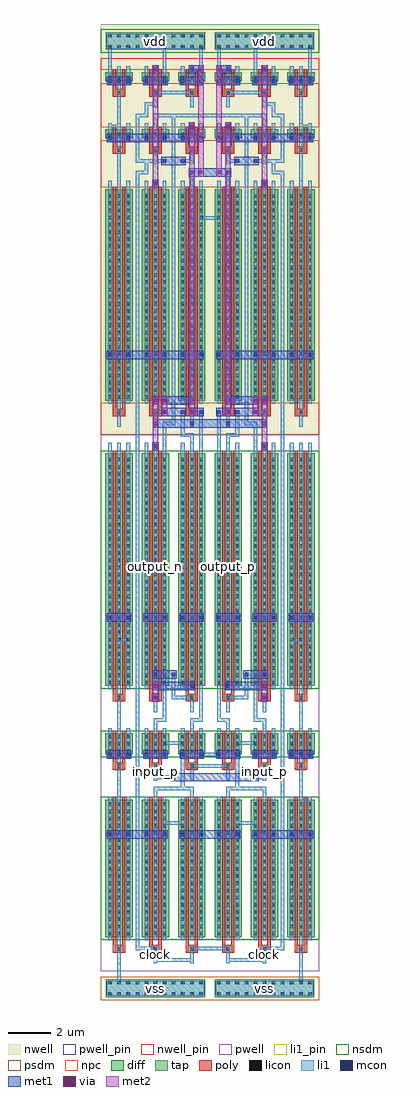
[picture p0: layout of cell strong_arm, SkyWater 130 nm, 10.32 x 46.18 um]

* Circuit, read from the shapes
.subckt strong_arm clock input_n input_p output_n output_p vdd vss
XM1 vss vss vss vss sky130_fd_pr__nfet_01v8 w=6.5 l=0.15 m=4
XM2 vss vss vss vss sky130_fd_pr__nfet_01v8 w=1 l=0.15 m=4
XM3 vss vss vss vss sky130_fd_pr__nfet_01v8 w=11 l=0.15 m=4
XM4 strong_arm_half_0/tail_d clock vss vss sky130_fd_pr__nfet_01v8 w=6.5 l=0.15 m=8
XM5 strong_arm_half_0/input_d_n input_p strong_arm_half_0/tail_d vss sky130_fd_pr__nfet_01v8 w=1 l=0.15 m=4
XM6 output_n output_p strong_arm_half_0/input_d_n vss sky130_fd_pr__nfet_01v8 w=11 l=0.15 m=4
XM7 strong_arm_half_0/input_d_p input_n strong_arm_half_0/tail_d vss sky130_fd_pr__nfet_01v8 w=1 l=0.15 m=2
XM8 output_p output_n strong_arm_half_0/input_d_p vss sky130_fd_pr__nfet_01v8 w=11 l=0.15 m=2
XM9 strong_arm_half_1/input_d_p input_n strong_arm_half_0/tail_d vss sky130_fd_pr__nfet_01v8 w=1 l=0.15 m=2
XM10 output_p output_n strong_arm_half_1/input_d_p vss sky130_fd_pr__nfet_01v8 w=11 l=0.15 m=2
XM11 vdd vdd vdd vdd sky130_fd_pr__pfet_01v8 w=10 l=0.15 m=4
XM12 vdd vdd vdd vdd sky130_fd_pr__pfet_01v8 w=0.42 l=0.15 m=8
XM13 output_n output_p vdd vdd sky130_fd_pr__pfet_01v8 w=10 l=0.15 m=4
XM14 strong_arm_half_0/input_d_n clock vdd vdd sky130_fd_pr__pfet_01v8 w=0.42 l=0.15 m=4
XM15 output_n clock vdd vdd sky130_fd_pr__pfet_01v8 w=0.42 l=0.15 m=4
XM16 output_p output_n vdd vdd sky130_fd_pr__pfet_01v8 w=10 l=0.15 m=4
XM17 strong_arm_half_0/input_d_p clock vdd vdd sky130_fd_pr__pfet_01v8 w=0.42 l=0.15 m=2
XM18 output_p clock vdd vdd sky130_fd_pr__pfet_01v8 w=0.42 l=0.15 m=4
XM19 strong_arm_half_1/input_d_p clock vdd vdd sky130_fd_pr__pfet_01v8 w=0.42 l=0.15 m=2
.ends

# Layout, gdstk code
from math import pi, radians
import gdstk
lib = gdstk.Library(unit=1e-6, precision=1e-09)
def R(c, l, rs):  # rectangles x0, y0, x1, y1
    for r in rs: c.add(gdstk.rectangle(r[:2], r[2:], *l))
def A(c, l, x, y, w, h, nx, ny, dx, dy):  # array of equal rectangles
    R(c, l, [(x+i*dx, y+j*dy, x+i*dx+w, y+j*dy+h) for i in range(nx) for j in range(ny)])
nwell_pin = (64, 16)
nwell = (64, 20)
pwell = (64, 44)
diff = (65, 20)
tap = (65, 44)
poly = (66, 20)
licon = (66, 44)
li1_pin = (67, 16)
li1 = (67, 20)
mcon = (67, 44)
met1 = (68, 20)
via = (68, 44)
met2 = (69, 20)
nsdm = (93, 44)
psdm = (94, 20)
npc = (95, 20)
pwell_pin = (122, 16)

ptap_tile_x11_y2 = lib.new_cell('ptap_tile_x11_y2')
R(ptap_tile_x11_y2, tap, [(-0.205,-0.15,4.505,0.69)])
A(ptap_tile_x11_y2, licon, -0.085, -0.085, 0.17, 0.17, 11, 2, 0.43, 0.54)
R(ptap_tile_x11_y2, li1_pin, [(-0.165,-0.085,4.465,0.625)])
R(ptap_tile_x11_y2, li1, [(-0.165,-0.085,4.465,0.625)])
R(ptap_tile_x11_y2, psdm, [(-0.43,-0.28,4.73,0.82)])
ptap_tile_x11_y2.add(gdstk.Label('vnb', (2.15,0.27), layer=67, texttype=5))

ptap_tile = lib.new_cell('ptap_tile')
R(ptap_tile, li1_pin, [(-0.165,-0.085,4.465,0.625)])
ptap_tile.add(gdstk.Reference(ptap_tile_x11_y2, (0,0)))
ptap_tile.add(gdstk.Label('x', (2.15,0.27), layer=67, texttype=5))

ntap_tile_x11_y2 = lib.new_cell('ntap_tile_x11_y2')
R(ntap_tile_x11_y2, nwell, [(-0.43,-0.54,4.73,1.08)])
R(ntap_tile_x11_y2, tap, [(-0.205,-0.15,4.505,0.69)])
A(ntap_tile_x11_y2, licon, -0.085, -0.085, 0.17, 0.17, 11, 2, 0.43, 0.54)
R(ntap_tile_x11_y2, li1_pin, [(-0.165,-0.085,4.465,0.625)])
R(ntap_tile_x11_y2, li1, [(-0.165,-0.085,4.465,0.625)])
R(ntap_tile_x11_y2, nsdm, [(-0.43,-0.28,4.73,0.82)])
ntap_tile_x11_y2.add(gdstk.Label('vpb', (2.15,0.27), layer=67, texttype=5))

ntap_tile = lib.new_cell('ntap_tile')
R(ntap_tile, li1_pin, [(-0.165,-0.085,4.465,0.625)])
ntap_tile.add(gdstk.Reference(ntap_tile_x11_y2, (0,0)))
ntap_tile.add(gdstk.Label('x', (2.15,0.27), layer=67, texttype=5))

nmos_tile_w6500_l150_nf2 = lib.new_cell('nmos_tile_w6500_l150_nf2')
R(nmos_tile_w6500_l150_nf2, pwell, [(0,-1.62,1.72,7.02)])
R(nmos_tile_w6500_l150_nf2, diff, [(0.215,0,1.505,6.5)])
R(nmos_tile_w6500_l150_nf2, poly, [(0.57,-0.735,0.945,-0.385), (0.57,-0.735,0.72,6.63), (0.775,-0.735,1.15,-0.385), (1,-0.735,1.15,6.63)])
A(nmos_tile_w6500_l150_nf2, licon, 0.345, 0.08, 0.17, 0.17, 3, 19, 0.43, 0.34)
R(nmos_tile_w6500_l150_nf2, licon, [(0.775,-0.645,0.945,-0.475)])
A(nmos_tile_w6500_l150_nf2, li1_pin, 0.345, -0.155, 0.17, 6.79, 3, 1, 0.43, 0)
R(nmos_tile_w6500_l150_nf2, li1_pin, [(0.775,-1.235,0.945,-0.385)])
A(nmos_tile_w6500_l150_nf2, li1, 0.345, -0.155, 0.17, 6.79, 3, 1, 0.43, 0)
R(nmos_tile_w6500_l150_nf2, li1, [(0.775,-1.235,0.945,-0.385)])
R(nmos_tile_w6500_l150_nf2, nsdm, [(0,-0.13,1.72,6.63)])
R(nmos_tile_w6500_l150_nf2, npc, [(0.675,-0.745,1.045,-0.375)])
R(nmos_tile_w6500_l150_nf2, pwell_pin, [(0,-1.62,1.72,7.02)])
nmos_tile_w6500_l150_nf2.add(gdstk.Label('sd_0', (0.43,3.24), layer=67, texttype=5))
nmos_tile_w6500_l150_nf2.add(gdstk.Label('sd_1', (0.86,3.24), layer=67, texttype=5))
nmos_tile_w6500_l150_nf2.add(gdstk.Label('sd_2', (1.29,3.24), layer=67, texttype=5))
nmos_tile_w6500_l150_nf2.add(gdstk.Label('g_0', (0.86,-0.81), layer=67, texttype=5))
nmos_tile_w6500_l150_nf2.add(gdstk.Label('b', (0.86,2.7), layer=64, texttype=59))

two_finger_mos_tile = lib.new_cell('two_finger_mos_tile')
A(two_finger_mos_tile, li1_pin, 0.345, -0.155, 0.17, 6.79, 3, 1, 0.43, 0)
R(two_finger_mos_tile, li1_pin, [(0.775,-1.235,0.945,-0.385)])
R(two_finger_mos_tile, li1, [(0.345,4.775,0.515,4.945), (0.345,4.775,0.515,4.945), (1.205,4.775,1.375,4.945), (1.205,4.775,1.375,4.945)])
R(two_finger_mos_tile, mcon, [(0.345,4.775,0.515,4.945), (1.205,4.775,1.375,4.945)])
R(two_finger_mos_tile, met1, [(0.285,4.66,0.575,5.06), (0.345,4.66,0.945,5.06), (0.775,4.66,1.375,5.06), (1.145,4.66,1.435,5.06)])
R(two_finger_mos_tile, pwell_pin, [(0,-1.62,1.72,7.02)])
two_finger_mos_tile.add(gdstk.Reference(nmos_tile_w6500_l150_nf2, (0,0)))
two_finger_mos_tile.add(gdstk.Label('d', (0.86,3.24), layer=67, texttype=5))
two_finger_mos_tile.add(gdstk.Label('g', (0.86,-0.81), layer=67, texttype=5))
two_finger_mos_tile.add(gdstk.Label('s', (1.29,3.24), layer=67, texttype=5))
two_finger_mos_tile.add(gdstk.Label('s', (0.43,3.24), layer=67, texttype=5))
two_finger_mos_tile.add(gdstk.Label('b', (0.86,2.7), layer=64, texttype=59))

nmos_tile_w1000_l150_nf2 = lib.new_cell('nmos_tile_w1000_l150_nf2')
R(nmos_tile_w1000_l150_nf2, pwell, [(0,-1.62,1.72,1.62)])
R(nmos_tile_w1000_l150_nf2, diff, [(0.215,0,1.505,1)])
R(nmos_tile_w1000_l150_nf2, poly, [(0.57,-0.735,0.945,-0.385), (0.57,-0.735,0.72,1.13), (0.775,-0.735,1.15,-0.385), (1,-0.735,1.15,1.13)])
A(nmos_tile_w1000_l150_nf2, licon, 0.345, 0.08, 0.17, 0.17, 3, 3, 0.43, 0.34)
R(nmos_tile_w1000_l150_nf2, licon, [(0.775,-0.645,0.945,-0.475)])
A(nmos_tile_w1000_l150_nf2, li1_pin, 0.345, -0.155, 0.17, 1.39, 3, 1, 0.43, 0)
R(nmos_tile_w1000_l150_nf2, li1_pin, [(0.775,-1.235,0.945,-0.385)])
A(nmos_tile_w1000_l150_nf2, li1, 0.345, -0.155, 0.17, 1.39, 3, 1, 0.43, 0)
R(nmos_tile_w1000_l150_nf2, li1, [(0.775,-1.235,0.945,-0.385)])
R(nmos_tile_w1000_l150_nf2, nsdm, [(0,-0.13,1.72,1.13)])
R(nmos_tile_w1000_l150_nf2, npc, [(0.675,-0.745,1.045,-0.375)])
R(nmos_tile_w1000_l150_nf2, pwell_pin, [(0,-1.62,1.72,1.62)])
nmos_tile_w1000_l150_nf2.add(gdstk.Label('sd_0', (0.43,0.54), layer=67, texttype=5))
nmos_tile_w1000_l150_nf2.add(gdstk.Label('sd_1', (0.86,0.54), layer=67, texttype=5))
nmos_tile_w1000_l150_nf2.add(gdstk.Label('sd_2', (1.29,0.54), layer=67, texttype=5))
nmos_tile_w1000_l150_nf2.add(gdstk.Label('g_0', (0.86,-0.81), layer=67, texttype=5))
nmos_tile_w1000_l150_nf2.add(gdstk.Label('b', (0.86,0), layer=64, texttype=59))

two_finger_mos_tile_1 = lib.new_cell('two_finger_mos_tile_1')
A(two_finger_mos_tile_1, li1_pin, 0.345, -0.155, 0.17, 1.39, 3, 1, 0.43, 0)
R(two_finger_mos_tile_1, li1_pin, [(0.775,-1.235,0.945,-0.385)])
R(two_finger_mos_tile_1, li1, [(0.345,-0.085,0.515,0.085), (0.345,-0.085,0.515,0.085), (1.205,-0.085,1.375,0.085), (1.205,-0.085,1.375,0.085)])
R(two_finger_mos_tile_1, mcon, [(0.345,-0.085,0.515,0.085), (1.205,-0.085,1.375,0.085)])
R(two_finger_mos_tile_1, met1, [(0.285,-0.2,0.575,0.2), (0.345,-0.2,0.945,0.2), (0.775,-0.2,1.375,0.2), (1.145,-0.2,1.435,0.2)])
R(two_finger_mos_tile_1, pwell_pin, [(0,-1.62,1.72,1.62)])
two_finger_mos_tile_1.add(gdstk.Reference(nmos_tile_w1000_l150_nf2, (0,0)))
two_finger_mos_tile_1.add(gdstk.Label('d', (0.86,0.54), layer=67, texttype=5))
two_finger_mos_tile_1.add(gdstk.Label('g', (0.86,-0.81), layer=67, texttype=5))
two_finger_mos_tile_1.add(gdstk.Label('s', (1.29,0.54), layer=67, texttype=5))
two_finger_mos_tile_1.add(gdstk.Label('s', (0.43,0.54), layer=67, texttype=5))
two_finger_mos_tile_1.add(gdstk.Label('b', (0.86,0), layer=64, texttype=59))

nmos_tile_w11000_l150_nf = lib.new_cell('nmos_tile_w11000_l150_nf2')
R(nmos_tile_w11000_l150_nf, pwell, [(0,-1.62,1.72,11.88)])
R(nmos_tile_w11000_l150_nf, diff, [(0.215,0,1.505,11)])
R(nmos_tile_w11000_l150_nf, poly, [(0.57,-0.735,0.945,-0.385), (0.57,-0.735,0.72,11.13), (0.775,-0.735,1.15,-0.385), (1,-0.735,1.15,11.13)])
A(nmos_tile_w11000_l150_nf, licon, 0.345, 0.08, 0.17, 0.17, 3, 32, 0.43, 0.34)
R(nmos_tile_w11000_l150_nf, licon, [(0.775,-0.645,0.945,-0.475)])
A(nmos_tile_w11000_l150_nf, li1_pin, 0.345, -0.155, 0.17, 11.65, 3, 1, 0.43, 0)
R(nmos_tile_w11000_l150_nf, li1_pin, [(0.775,-1.235,0.945,-0.385)])
A(nmos_tile_w11000_l150_nf, li1, 0.345, -0.155, 0.17, 11.65, 3, 1, 0.43, 0)
R(nmos_tile_w11000_l150_nf, li1, [(0.775,-1.235,0.945,-0.385)])
R(nmos_tile_w11000_l150_nf, nsdm, [(0,-0.13,1.72,11.13)])
R(nmos_tile_w11000_l150_nf, npc, [(0.675,-0.745,1.045,-0.375)])
R(nmos_tile_w11000_l150_nf, pwell_pin, [(0,-1.62,1.72,11.88)])
nmos_tile_w11000_l150_nf.add(gdstk.Label('sd_0', (0.43,5.67), layer=67, texttype=5))
nmos_tile_w11000_l150_nf.add(gdstk.Label('sd_1', (0.86,5.67), layer=67, texttype=5))
nmos_tile_w11000_l150_nf.add(gdstk.Label('sd_2', (1.29,5.67), layer=67, texttype=5))
nmos_tile_w11000_l150_nf.add(gdstk.Label('g_0', (0.86,-0.81), layer=67, texttype=5))
nmos_tile_w11000_l150_nf.add(gdstk.Label('b', (0.86,5.13), layer=64, texttype=59))

two_finger_mos_tile_2 = lib.new_cell('two_finger_mos_tile_2')
A(two_finger_mos_tile_2, li1_pin, 0.345, -0.155, 0.17, 11.65, 3, 1, 0.43, 0)
R(two_finger_mos_tile_2, li1_pin, [(0.775,-1.235,0.945,-0.385)])
R(two_finger_mos_tile_2, li1, [(0.345,3.155,0.515,3.325), (0.345,3.155,0.515,3.325), (1.205,3.155,1.375,3.325), (1.205,3.155,1.375,3.325)])
R(two_finger_mos_tile_2, mcon, [(0.345,3.155,0.515,3.325), (1.205,3.155,1.375,3.325)])
R(two_finger_mos_tile_2, met1, [(0.285,3.04,0.575,3.44), (0.345,3.04,0.945,3.44), (0.775,3.04,1.375,3.44), (1.145,3.04,1.435,3.44)])
R(two_finger_mos_tile_2, pwell_pin, [(0,-1.62,1.72,11.88)])
two_finger_mos_tile_2.add(gdstk.Reference(nmos_tile_w11000_l150_nf, (0,0)))
two_finger_mos_tile_2.add(gdstk.Label('d', (0.86,5.67), layer=67, texttype=5))
two_finger_mos_tile_2.add(gdstk.Label('g', (0.86,-0.81), layer=67, texttype=5))
two_finger_mos_tile_2.add(gdstk.Label('s', (1.29,5.67), layer=67, texttype=5))
two_finger_mos_tile_2.add(gdstk.Label('s', (0.43,5.67), layer=67, texttype=5))
two_finger_mos_tile_2.add(gdstk.Label('b', (0.86,5.13), layer=64, texttype=59))

pmos_tile_w10000_l150_nf = lib.new_cell('pmos_tile_w10000_l150_nf2')
R(pmos_tile_w10000_l150_nf, nwell_pin, [(0,-1.62,1.72,10.8)])
R(pmos_tile_w10000_l150_nf, nwell, [(0,-1.62,1.72,10.8)])
R(pmos_tile_w10000_l150_nf, diff, [(0.215,0,1.505,10)])
R(pmos_tile_w10000_l150_nf, poly, [(0.57,-0.735,0.945,-0.385), (0.57,-0.735,0.72,10.13), (0.775,-0.735,1.15,-0.385), (1,-0.735,1.15,10.13)])
A(pmos_tile_w10000_l150_nf, licon, 0.345, 0.08, 0.17, 0.17, 3, 29, 0.43, 0.34)
R(pmos_tile_w10000_l150_nf, licon, [(0.775,-0.645,0.945,-0.475)])
A(pmos_tile_w10000_l150_nf, li1_pin, 0.345, -0.155, 0.17, 10.57, 3, 1, 0.43, 0)
R(pmos_tile_w10000_l150_nf, li1_pin, [(0.775,-1.235,0.945,-0.385)])
A(pmos_tile_w10000_l150_nf, li1, 0.345, -0.155, 0.17, 10.57, 3, 1, 0.43, 0)
R(pmos_tile_w10000_l150_nf, li1, [(0.775,-1.235,0.945,-0.385)])
R(pmos_tile_w10000_l150_nf, psdm, [(0,-0.13,1.72,10.13)])
R(pmos_tile_w10000_l150_nf, npc, [(0.675,-0.745,1.045,-0.375)])
pmos_tile_w10000_l150_nf.add(gdstk.Label('sd_0', (0.43,5.13), layer=67, texttype=5))
pmos_tile_w10000_l150_nf.add(gdstk.Label('sd_1', (0.86,5.13), layer=67, texttype=5))
pmos_tile_w10000_l150_nf.add(gdstk.Label('sd_2', (1.29,5.13), layer=67, texttype=5))
pmos_tile_w10000_l150_nf.add(gdstk.Label('g_0', (0.86,-0.81), layer=67, texttype=5))
pmos_tile_w10000_l150_nf.add(gdstk.Label('b', (0.86,4.59), layer=64, texttype=5))

two_finger_mos_tile_3 = lib.new_cell('two_finger_mos_tile_3')
R(two_finger_mos_tile_3, nwell_pin, [(0,-1.62,1.72,10.8)])
A(two_finger_mos_tile_3, li1_pin, 0.345, -0.155, 0.17, 10.57, 3, 1, 0.43, 0)
R(two_finger_mos_tile_3, li1_pin, [(0.775,-1.235,0.945,-0.385)])
R(two_finger_mos_tile_3, li1, [(0.345,2.075,0.515,2.245), (0.345,2.075,0.515,2.245), (1.205,2.075,1.375,2.245), (1.205,2.075,1.375,2.245)])
R(two_finger_mos_tile_3, mcon, [(0.345,2.075,0.515,2.245), (1.205,2.075,1.375,2.245)])
R(two_finger_mos_tile_3, met1, [(0.285,1.96,0.575,2.36), (0.345,1.96,0.945,2.36), (0.775,1.96,1.375,2.36), (1.145,1.96,1.435,2.36)])
two_finger_mos_tile_3.add(gdstk.Reference(pmos_tile_w10000_l150_nf, (0,0)))
two_finger_mos_tile_3.add(gdstk.Label('d', (0.86,5.13), layer=67, texttype=5))
two_finger_mos_tile_3.add(gdstk.Label('g', (0.86,-0.81), layer=67, texttype=5))
two_finger_mos_tile_3.add(gdstk.Label('s', (1.29,5.13), layer=67, texttype=5))
two_finger_mos_tile_3.add(gdstk.Label('s', (0.43,5.13), layer=67, texttype=5))
two_finger_mos_tile_3.add(gdstk.Label('b', (0.86,4.59), layer=64, texttype=5))

pmos_tile_w420_l150_nf2 = lib.new_cell('pmos_tile_w420_l150_nf2')
R(pmos_tile_w420_l150_nf2, nwell_pin, [(0,-1.62,1.72,1.08)])
R(pmos_tile_w420_l150_nf2, nwell, [(0,-1.62,1.72,1.08)])
R(pmos_tile_w420_l150_nf2, diff, [(0.215,0,1.505,0.42)])
R(pmos_tile_w420_l150_nf2, poly, [(0.57,-0.735,0.945,-0.385), (0.57,-0.735,0.72,0.55), (0.775,-0.735,1.15,-0.385), (1,-0.735,1.15,0.55)])
A(pmos_tile_w420_l150_nf2, licon, 0.345, 0.08, 0.17, 0.17, 3, 1, 0.43, 0)
R(pmos_tile_w420_l150_nf2, licon, [(0.775,-0.645,0.945,-0.475)])
A(pmos_tile_w420_l150_nf2, li1_pin, 0.345, -0.155, 0.17, 0.85, 3, 1, 0.43, 0)
R(pmos_tile_w420_l150_nf2, li1_pin, [(0.775,-1.235,0.945,-0.385)])
A(pmos_tile_w420_l150_nf2, li1, 0.345, -0.155, 0.17, 0.85, 3, 1, 0.43, 0)
R(pmos_tile_w420_l150_nf2, li1, [(0.775,-1.235,0.945,-0.385)])
R(pmos_tile_w420_l150_nf2, psdm, [(0,-0.13,1.72,0.55)])
R(pmos_tile_w420_l150_nf2, npc, [(0.675,-0.745,1.045,-0.375)])
pmos_tile_w420_l150_nf2.add(gdstk.Label('sd_0', (0.43,0.27), layer=67, texttype=5))
pmos_tile_w420_l150_nf2.add(gdstk.Label('sd_1', (0.86,0.27), layer=67, texttype=5))
pmos_tile_w420_l150_nf2.add(gdstk.Label('sd_2', (1.29,0.27), layer=67, texttype=5))
pmos_tile_w420_l150_nf2.add(gdstk.Label('g_0', (0.86,-0.81), layer=67, texttype=5))
pmos_tile_w420_l150_nf2.add(gdstk.Label('b', (0.86,-0.27), layer=64, texttype=5))

two_finger_mos_tile_4 = lib.new_cell('two_finger_mos_tile_4')
R(two_finger_mos_tile_4, nwell_pin, [(0,-1.62,1.72,1.08)])
A(two_finger_mos_tile_4, li1_pin, 0.345, -0.155, 0.17, 0.85, 3, 1, 0.43, 0)
R(two_finger_mos_tile_4, li1_pin, [(0.775,-1.235,0.945,-0.385)])
R(two_finger_mos_tile_4, li1, [(0.345,-0.085,0.515,0.085), (0.345,-0.085,0.515,0.085), (1.205,-0.085,1.375,0.085), (1.205,-0.085,1.375,0.085)])
R(two_finger_mos_tile_4, mcon, [(0.345,-0.085,0.515,0.085), (1.205,-0.085,1.375,0.085)])
R(two_finger_mos_tile_4, met1, [(0.285,-0.2,0.575,0.2), (0.345,-0.2,0.945,0.2), (0.775,-0.2,1.375,0.2), (1.145,-0.2,1.435,0.2)])
two_finger_mos_tile_4.add(gdstk.Reference(pmos_tile_w420_l150_nf2, (0,0)))
two_finger_mos_tile_4.add(gdstk.Label('d', (0.86,0.27), layer=67, texttype=5))
two_finger_mos_tile_4.add(gdstk.Label('g', (0.86,-0.81), layer=67, texttype=5))
two_finger_mos_tile_4.add(gdstk.Label('s', (1.29,0.27), layer=67, texttype=5))
two_finger_mos_tile_4.add(gdstk.Label('s', (0.43,0.27), layer=67, texttype=5))
two_finger_mos_tile_4.add(gdstk.Label('b', (0.86,-0.27), layer=64, texttype=5))

strong_arm_half = lib.new_cell('strong_arm_half')
R(strong_arm_half, li1_pin, [(-0.165,-44.905,4.465,-44.195), (2.065,-43.355,2.235,-42.505), (2.065,-42.275,2.235,-35.485), (2.065,-34.715,2.235,-33.865), (3.785,-34.715,3.955,-33.865), (2.065,-33.635,2.235,-32.245), (3.785,-33.635,3.955,-32.245), (2.065,-30.395,2.235,-18.745), (3.785,-30.395,3.955,-18.745), (-0.165,-0.085,4.465,0.625)])
A(strong_arm_half, li1, 2.065, -43.285, 0.6, 0.17, 4, 2, 0.43, 8.1)
A(strong_arm_half, li1, 1.205, -42.745, 0.17, 0.71, 1, 13, 0, 0.54)
A(strong_arm_half, li1, 0.345, -35.725, 0.17, 0.71, 3, 2, 0.86, 3.24)
A(strong_arm_half, li1, 1.205, -35.185, 0.17, 0.71, 1, 5, 0, 0.54)
A(strong_arm_half, li1, 3.355, -35.185, 0.17, 0.71, 1, 3, 0, 0.54)
A(strong_arm_half, li1, 1.205, -31.945, 0.17, 0.71, 1, 24, 0, 0.54)
A(strong_arm_half, li1, 2.495, -31.945, 0.17, 0.71, 1, 3, 0, 0.54)
A(strong_arm_half, li1, 4.215, -31.945, 0.17, 0.71, 1, 3, 0, 0.54)
A(strong_arm_half, li1, 1.205, -18.985, 0.17, 0.71, 3, 1, 1.29, 0)
A(strong_arm_half, li1, 1.205, -18.445, 0.17, 0.71, 1, 23, 0, 0.54)
A(strong_arm_half, li1, 2.495, -18.445, 0.17, 0.71, 3, 1, 0.86, 0)
A(strong_arm_half, li1, 2.925, -17.905, 0.17, 0.71, 1, 22, 0, 0.54)
A(strong_arm_half, li1, 0.345, -6.565, 0.17, 0.71, 1, 3, 0, 1.62)
A(strong_arm_half, li1, 0.345, -6.025, 0.17, 0.71, 3, 1, 1.29, 0)
A(strong_arm_half, li1, 1.205, -5.485, 0.17, 0.71, 1, 3, 0, 0.54)
A(strong_arm_half, li1, 1.205, -5.485, 0.6, 0.17, 3, 1, 0.43, 0)
A(strong_arm_half, li1, 2.925, -5.485, 0.17, 0.71, 1, 3, 0, 0.54)
A(strong_arm_half, li1, 0.345, -3.865, 0.17, 0.71, 4, 1, 0.86, 0)
A(strong_arm_half, li1, 2.065, -2.245, 0.6, 0.17, 4, 1, 0.43, 0)
R(strong_arm_half, li1, [(0.345,-44.365,0.515,-43.655), (0.345,-43.825,0.515,-43.115), (0.345,-42.745,0.515,-42.035), (1.205,-42.745,1.805,-42.575), (1.635,-42.745,2.235,-42.575), (2.495,-36.805,3.095,-36.635), (2.925,-36.805,3.525,-36.635), (-0.085,-35.725,0.515,-35.555), (3.785,-35.725,3.955,-35.015), (0.345,-35.185,0.515,-34.475), (0.345,-34.105,0.515,-33.395), (0.345,-33.565,0.515,-33.395), (0.345,-33.565,0.515,-33.395), (2.495,-33.025,3.095,-32.855), (2.925,-33.025,3.525,-32.855), (3.785,-32.485,3.955,-31.775), (0.345,-31.945,0.515,-31.235), (2.065,-31.945,2.665,-31.775), (3.785,-31.945,4.385,-31.775), (0.345,-30.865,0.515,-30.155), (2.065,-30.865,2.235,-30.695), (2.065,-30.865,2.235,-30.695), (2.925,-30.865,3.095,-30.155), (2.925,-30.865,3.525,-30.695), (3.355,-30.865,3.955,-30.695), (2.925,-30.325,3.095,-29.615), (3.785,-30.325,3.955,-30.155), (3.785,-30.325,3.955,-30.155), (2.065,-29.785,2.235,-29.615), (2.065,-29.785,2.235,-29.615), (2.925,-29.785,3.095,-29.615), (2.925,-29.785,3.095,-29.615), (0.345,-28.165,0.945,-27.995), (2.065,-18.985,2.235,-18.815), (2.065,-18.985,2.235,-18.815), (4.215,-18.985,4.385,-18.275), (3.355,-18.445,3.955,-18.275), (2.495,-17.905,3.095,-17.735), (3.355,-17.905,3.525,-17.195), (3.785,-17.905,3.955,-17.735), (3.785,-17.905,3.955,-17.735), (4.215,-17.905,4.385,-17.195), (0.345,-17.365,0.515,-16.655), (2.065,-17.365,2.665,-17.195), (2.495,-17.365,2.665,-17.195), (2.495,-17.365,2.665,-17.195), (3.355,-17.365,3.525,-17.195), (3.355,-17.365,3.525,-17.195), (4.215,-17.365,4.385,-17.195), (4.215,-17.365,4.385,-17.195), (0.345,-16.825,0.945,-16.655), (2.065,-16.825,2.235,-16.655), (2.065,-16.825,2.235,-16.655), (3.785,-16.825,3.955,-16.655), (3.785,-16.825,3.955,-16.655), (2.065,-6.565,2.235,-6.395), (2.065,-6.565,2.235,-6.395), (3.785,-6.565,3.955,-5.855), (1.205,-6.025,1.805,-5.855), (3.785,-6.025,3.955,-5.855), (3.785,-6.025,3.955,-5.855), (2.495,-5.485,2.665,-5.315), (2.495,-5.485,2.665,-5.315), (3.355,-5.485,3.955,-5.315), (3.355,-5.485,3.525,-5.315), (3.355,-5.485,3.525,-5.315), (-0.085,-3.865,0.515,-3.695), (3.785,-3.865,3.955,-3.695), (3.785,-3.865,3.955,-3.695), (1.205,-3.325,1.805,-3.155), (1.635,-3.325,1.805,-2.615), (2.065,-3.325,2.665,-3.155), (2.495,-3.325,3.095,-3.155), (1.635,-2.785,2.235,-2.615), (0.345,-2.245,0.515,-1.535), (0.345,-1.705,0.515,-1.535), (0.345,-1.705,0.515,-1.535), (-0.085,-1.165,0.085,-0.455), (2.065,-1.165,2.235,-0.995), (2.065,-1.165,2.235,-0.995), (2.495,-1.165,2.665,-0.455), (3.785,-1.165,3.955,-0.995), (3.785,-1.165,3.955,-0.995), (4.215,-1.165,4.385,-0.455), (-0.085,-0.625,0.085,0.085), (2.495,-0.625,2.665,0.085), (4.215,-0.625,4.385,0.085)])
A(strong_arm_half, mcon, 2.495, -17.365, 0.17, 0.17, 3, 1, 0.86, 0)
R(strong_arm_half, mcon, [(0.345,-33.565,0.515,-33.395), (2.065,-30.865,2.235,-30.695), (3.785,-30.325,3.955,-30.155), (2.065,-29.785,2.235,-29.615), (2.925,-29.785,3.095,-29.615), (2.065,-18.985,2.235,-18.815), (3.785,-17.905,3.955,-17.735), (2.065,-16.825,2.235,-16.655), (3.785,-16.825,3.955,-16.655), (2.065,-6.565,2.235,-6.395), (3.785,-6.025,3.955,-5.855), (2.495,-5.485,2.665,-5.315), (3.355,-5.485,3.525,-5.315), (3.785,-3.865,3.955,-3.695), (0.345,-1.705,0.515,-1.535), (2.065,-1.165,2.235,-0.995), (3.785,-1.165,3.955,-0.995)])
A(strong_arm_half, met1, 2.065, -30.44, 0.6, 0.4, 4, 2, 0.43, 12.42)
A(strong_arm_half, met1, 2.02, -19.1, 0.26, 0.4, 1, 3, 0, 1.08)
A(strong_arm_half, met1, 2.065, -19.1, 0.17, 0.4, 1, 3, 0, 1.08)
A(strong_arm_half, met1, 2.435, -17.48, 0.29, 0.4, 3, 1, 0.86, 0)
A(strong_arm_half, met1, 2.495, -16.94, 0.6, 0.4, 3, 1, 0.43, 0)
R(strong_arm_half, met1, [(0.775,-37.46,1.375,-37.06), (1.205,-37.46,1.805,-37.06), (0.285,-33.68,0.575,-33.28), (2.005,-30.98,2.295,-30.58), (2.02,-30.98,2.28,-30.58), (2.065,-30.98,2.235,-30.58), (2.02,-30.44,2.28,-30.04), (2.065,-30.44,2.235,-30.04), (3.725,-30.44,4.015,-30.04), (2.005,-29.9,2.295,-29.5), (2.065,-29.9,2.665,-29.5), (2.495,-29.9,3.095,-29.5), (2.865,-29.9,3.155,-29.5), (2.005,-19.1,2.295,-18.7), (3.725,-18.02,4.015,-17.62), (2.45,-17.48,2.71,-17.08), (2.495,-17.48,3.095,-17.08), (2.495,-17.48,2.665,-17.08), (2.925,-17.48,3.525,-17.08), (3.74,-17.48,4,-17.08), (3.785,-17.48,4.385,-17.08), (3.785,-17.48,3.955,-17.08), (2.005,-16.94,2.295,-16.54), (2.45,-16.94,2.71,-16.54), (2.495,-16.94,2.665,-16.54), (3.725,-16.94,4.015,-16.54), (0.775,-14.78,1.375,-14.38), (1.205,-14.78,1.805,-14.38), (2.495,-14.78,3.095,-14.38), (2.925,-14.78,3.525,-14.38), (2.005,-6.68,2.295,-6.28), (2.02,-6.68,2.28,-6.28), (2.065,-6.68,2.235,-6.28), (3.725,-6.14,4.015,-5.74), (3.785,-6.14,4.385,-5.74), (4.17,-6.14,4.43,-5.74), (4.215,-6.14,4.385,-5.74), (2.435,-5.6,2.725,-5.2), (2.495,-5.6,3.095,-5.2), (2.925,-5.6,3.525,-5.2), (3.295,-5.6,3.585,-5.2), (0.775,-4.52,1.375,-4.12), (1.205,-4.52,1.805,-4.12), (2.495,-4.52,3.095,-4.12), (2.925,-4.52,3.525,-4.12), (3.725,-3.98,4.015,-3.58), (3.74,-3.98,4,-3.58), (3.785,-3.98,3.955,-3.58), (0.285,-1.82,0.575,-1.42), (2.005,-1.28,2.295,-0.88), (2.02,-1.28,2.28,-0.88), (2.065,-1.28,2.235,-0.88), (3.725,-1.28,4.015,-0.88), (3.785,-1.28,4.385,-0.88), (4.17,-1.28,4.43,-0.88), (4.215,-1.28,4.385,-0.88)])
A(strong_arm_half, via, 2.075, -18.975, 0.15, 0.15, 1, 3, 0, 1.08)
R(strong_arm_half, via, [(2.075,-30.855,2.225,-30.705), (2.075,-30.315,2.225,-30.165), (2.505,-17.355,2.655,-17.205), (3.795,-17.355,3.945,-17.205), (2.505,-16.815,2.655,-16.665), (2.075,-6.555,2.225,-6.405), (4.225,-6.015,4.375,-5.865), (3.795,-3.855,3.945,-3.705), (2.075,-1.155,2.225,-1.005), (4.225,-1.155,4.375,-1.005)])
A(strong_arm_half, met2, 2.02, -19.1, 0.26, 0.4, 1, 3, 0, 1.08)
A(strong_arm_half, met2, 2.02, -19.03, 0.26, 0.8, 1, 4, 0, 0.54)
A(strong_arm_half, met2, 3.74, -17.41, 0.26, 0.8, 1, 25, 0, 0.54)
A(strong_arm_half, met2, 2.02, -6.61, 0.26, 0.8, 1, 10, 0, 0.54)
A(strong_arm_half, met2, 4.17, -6.07, 0.26, 0.8, 1, 9, 0, 0.54)
R(strong_arm_half, met2, [(2.02,-30.98,2.28,-30.58), (2.02,-30.91,2.28,-30.11), (2.02,-30.44,2.28,-30.04), (2.45,-17.48,2.71,-17.08), (3.74,-17.48,4,-17.08), (2.45,-17.41,2.71,-16.61), (2.45,-16.94,2.71,-16.54), (2.02,-6.68,2.28,-6.28), (4.17,-6.14,4.43,-5.74), (3.74,-3.98,4,-3.58), (2.02,-1.28,2.28,-0.88), (4.17,-1.28,4.43,-0.88)])
strong_arm_half.add(gdstk.Reference(ptap_tile, (0,-44.82)))
strong_arm_half.add(gdstk.Reference(ntap_tile, (0,0)))
strong_arm_half.add(gdstk.Reference(two_finger_mos_tile, (1.29,-42.12)))
strong_arm_half.add(gdstk.Reference(two_finger_mos_tile, (3.01,-42.12)))
strong_arm_half.add(gdstk.Reference(two_finger_mos_tile, (-0.43,-42.12)))
strong_arm_half.add(gdstk.Reference(two_finger_mos_tile_1, (1.29,-33.48)))
strong_arm_half.add(gdstk.Reference(two_finger_mos_tile_1, (3.01,-33.48)))
strong_arm_half.add(gdstk.Reference(two_finger_mos_tile_1, (-0.43,-33.48)))
strong_arm_half.add(gdstk.Reference(two_finger_mos_tile_2, (1.29,-30.24)))
strong_arm_half.add(gdstk.Reference(two_finger_mos_tile_2, (3.01,-30.24)))
strong_arm_half.add(gdstk.Reference(two_finger_mos_tile_2, (-0.43,-30.24)))
strong_arm_half.add(gdstk.Reference(two_finger_mos_tile_3, (1.29,-16.74)))
strong_arm_half.add(gdstk.Reference(two_finger_mos_tile_3, (3.01,-16.74)))
strong_arm_half.add(gdstk.Reference(two_finger_mos_tile_3, (-0.43,-16.74)))
strong_arm_half.add(gdstk.Reference(two_finger_mos_tile_4, (1.29,-1.62)))
strong_arm_half.add(gdstk.Reference(two_finger_mos_tile_4, (3.01,-1.62)))
strong_arm_half.add(gdstk.Reference(two_finger_mos_tile_4, (-0.43,-1.62)))
strong_arm_half.add(gdstk.Reference(two_finger_mos_tile_4, (1.29,-4.32)))
strong_arm_half.add(gdstk.Reference(two_finger_mos_tile_4, (3.01,-4.32)))
strong_arm_half.add(gdstk.Reference(two_finger_mos_tile_4, (-0.43,-4.32)))
strong_arm_half.add(gdstk.Label('top_io_input_p', (2.15,-34.29), layer=67, texttype=5))
strong_arm_half.add(gdstk.Label('top_io_input_n', (3.87,-34.29), layer=67, texttype=5))
strong_arm_half.add(gdstk.Label('top_io_output_p', (3.87,-24.57), layer=67, texttype=5))
strong_arm_half.add(gdstk.Label('top_io_output_n', (2.15,-24.57), layer=67, texttype=5))
strong_arm_half.add(gdstk.Label('top_io_clock', (2.15,-42.93), layer=67, texttype=5))
strong_arm_half.add(gdstk.Label('top_io_vdd', (2.15,0.27), layer=67, texttype=5))
strong_arm_half.add(gdstk.Label('top_io_vss', (2.15,-44.55), layer=67, texttype=5))
strong_arm_half.add(gdstk.Label('input_d_p', (3.87,-32.94), layer=67, texttype=5))
strong_arm_half.add(gdstk.Label('input_d_n', (2.15,-32.94), layer=67, texttype=5))
strong_arm_half.add(gdstk.Label('tail_d', (2.15,-38.88), layer=67, texttype=5))

strong_arm = lib.new_cell('strong_arm')
A(strong_arm, li1_pin, 2.065, -34.715, 0.17, 0.85, 4, 1, 1.72, 0)
A(strong_arm, li1_pin, 2.065, -30.395, 0.17, 11.65, 4, 1, 1.72, 0)
R(strong_arm, li1_pin, [(-0.165,-44.905,4.465,-44.195), (4.995,-44.905,9.625,-44.195), (2.065,-43.355,2.235,-42.505), (7.225,-43.355,7.395,-42.505), (-0.165,-0.085,4.465,0.625), (4.995,-0.085,9.625,0.625)])
A(strong_arm, li1, 3.785, -42.745, 0.6, 0.17, 4, 2, 0.43, 8.64)
A(strong_arm, li1, 2.925, -3.325, 0.6, 0.17, 8, 1, 0.43, 0)
R(strong_arm, li1, [(2.065,-34.645,2.665,-34.475), (2.495,-34.645,3.095,-34.475), (2.925,-34.645,3.095,-34.475), (2.925,-34.645,3.095,-34.475), (6.795,-34.645,7.395,-34.475), (6.795,-34.645,6.965,-34.475), (6.795,-34.645,6.965,-34.475), (4.215,-33.565,4.815,-33.395), (4.645,-33.565,5.245,-33.395), (4.215,-8.185,4.815,-8.015), (4.645,-8.185,5.245,-8.015)])
R(strong_arm, mcon, [(2.925,-34.645,3.095,-34.475), (6.795,-34.645,6.965,-34.475)])
A(strong_arm, met1, 2.925, -34.76, 0.6, 0.4, 9, 1, 0.43, 0)
A(strong_arm, met1, 3.785, -18.02, 0.6, 0.4, 4, 1, 0.43, 0)
R(strong_arm, met1, [(4.215,-37.46,4.815,-37.06), (4.645,-37.46,5.245,-37.06), (2.865,-34.76,3.155,-34.36), (6.735,-34.76,7.025,-34.36), (4.215,-6.14,4.815,-5.74), (4.645,-6.14,5.245,-5.74)])
strong_arm.add(gdstk.Reference(strong_arm_half, (0,0)))
strong_arm.add(gdstk.Reference(strong_arm_half, (9.46,0), rotation=pi, x_reflection=True))
strong_arm.add(gdstk.Label('input_p', (7.31,-34.29), layer=67, texttype=5))
strong_arm.add(gdstk.Label('input_p', (2.15,-34.29), layer=67, texttype=5))
strong_arm.add(gdstk.Label('input_n', (5.59,-34.29), layer=67, texttype=5))
strong_arm.add(gdstk.Label('input_n', (3.87,-34.29), layer=67, texttype=5))
strong_arm.add(gdstk.Label('output_p', (5.59,-24.57), layer=67, texttype=5))
strong_arm.add(gdstk.Label('output_p', (3.87,-24.57), layer=67, texttype=5))
strong_arm.add(gdstk.Label('output_n', (7.31,-24.57), layer=67, texttype=5))
strong_arm.add(gdstk.Label('output_n', (2.15,-24.57), layer=67, texttype=5))
strong_arm.add(gdstk.Label('clock', (7.31,-42.93), layer=67, texttype=5))
strong_arm.add(gdstk.Label('clock', (2.15,-42.93), layer=67, texttype=5))
strong_arm.add(gdstk.Label('vdd', (7.31,0.27), layer=67, texttype=5))
strong_arm.add(gdstk.Label('vdd', (2.15,0.27), layer=67, texttype=5))
strong_arm.add(gdstk.Label('vss', (7.31,-44.55), layer=67, texttype=5))
strong_arm.add(gdstk.Label('vss', (2.15,-44.55), layer=67, texttype=5))

lib.write_gds('strong_arm.gds')
